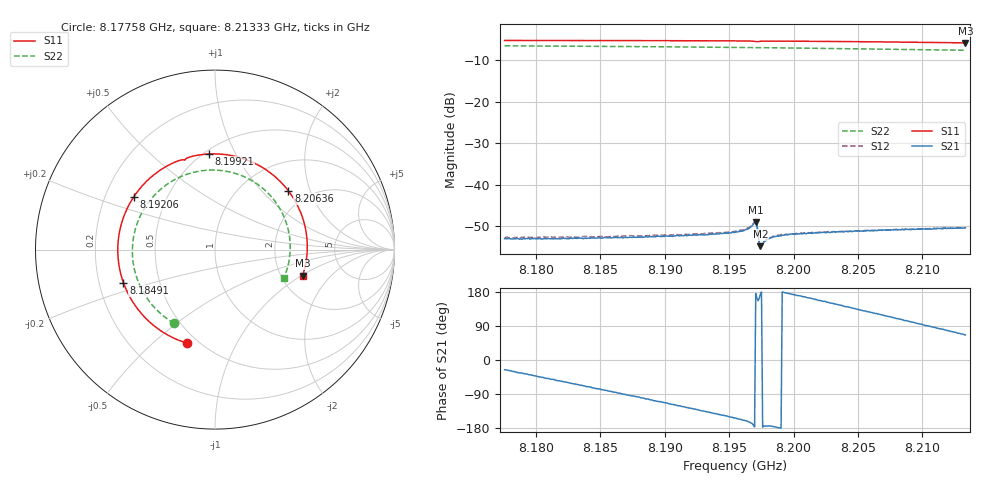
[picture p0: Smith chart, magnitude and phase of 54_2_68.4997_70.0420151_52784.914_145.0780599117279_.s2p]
#  HZ  S  RI  R  50.00
! Rohde & Schwarz Vector Network Analyzer
! Rohde-Schwarz,ZNB20-2Port,1311601062101988,3.16
! Created: UTC 3/20/2024, 5:06:07 PM
! freq[Hz]  re:S11  im:S11  re:S21  im:S21  re:S12  im:S12  re:S22  im:S22
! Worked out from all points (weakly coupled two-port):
!   401 points, 8.17758 GHz to 8.21333 GHz, reference 50 ohm
!   highest |S21| = -48.96 dB at 8.19707 GHz (marker M1); lowest = -54.8 dB at 8.19742 GHz (marker M2)
!   lowest |S11| = -5.9 dB at 8.21333 GHz (marker M3), VSWR 3.08, Z = 131 - j51.4 ohm
!   |S11| at or under -10 dB: nowhere
!   |S22| runs from -7.6 to -6.6 dB; largest |S21 - S12| = 0.00019
!   S11 on the Smith chart (normalised r, x): 8.17758 GHz: 0.44, -0.65; 8.18491 GHz: 0.30, -0.16; 8.19206 GHz: 0.32, +0.27; 8.19921 GHz: 0.53, +0.79; 8.20636 GHz: 1.59, +1.43; 8.21333 GHz: 2.61, -1.03
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8.177579e9  -0.1554 -0.5216  0.00203 -0.000975  0.00207 -0.00102  -0.2274 -0.411
8.18035e9  -0.3252 -0.4357  0.00161 -0.00157  0.00164 -0.00165  -0.347 -0.3119
8.183568e9  -0.4716 -0.2694  0.000914 -0.00209  0.0009 -0.00219  -0.4359 -0.1568
8.184909e9  -0.5101 -0.1847  0.000549 -0.00226  0.000526 -0.00233  -0.4542 -0.0844
8.187233e9  -0.5414 -0.0261  -0.000116 -0.00234  -0.000176 -0.00244  -0.4575 0.0444
8.189557e9  -0.5239 0.1349  -0.000807 -0.00228  -0.000896 -0.0023  -0.4247 0.1688
8.19206e9  -0.4524 0.2942  -0.00151 -0.00197  -0.00158 -0.00199  -0.3518 0.2869
8.195457e9  -0.2807 0.4581  -0.00237 -0.00122  -0.00248 -0.00119  -0.2018 0.4011
8.196351e9  -0.2237 0.4874  -0.00274 -0.000958  -0.00282 -0.000855  -0.1554 0.4201
8.196887e9  -0.1857 0.4999  -0.00333 -0.00049  -0.00343 -0.000389  -0.1265 0.4288
8.196976e9  -0.1787 0.5004  -0.00349 -0.000216  -0.00357 -7.27e-05  -0.1214 0.43
8.197066e9  -0.1724 0.4996  -0.00355 0.000289  -0.00363 0.000449  -0.1165 0.4311
8.197423e9  -0.1592 0.508  -0.00182 0.000216  -0.00187 0.000322  -0.0971 0.4354
8.197513e9  -0.153 0.5111  -0.00189 1.2e-05  -0.00193 7.17e-05  -0.0921 0.4363
8.198049e9  -0.1145 0.5225  -0.00222 -0.000235  -0.00231 -0.000135  -0.0619 0.4407
8.199211e9  -0.0321 0.533  -0.00247 4.56e-05  -0.00249 0.000168  0.00391 0.4429
8.201446e9  0.1246 0.5165  -0.00249 0.000813  -0.00252 0.000927  0.1287 0.4193
8.203859e9  0.28 0.4474  -0.00215 0.00166  -0.00212 0.00176  0.2508 0.3537
8.206362e9  0.4092 0.327  -0.00153 0.00239  -0.00145 0.00241  0.3498 0.247
8.207435e9  0.4507 0.2629  -0.00119 0.00261  -0.0011 0.00267  0.3806 0.1913
8.210384e9  0.5119 0.0631  -8.59e-06 0.00293  5.41e-05 0.00296  0.4192 0.0195
8.213334e9  0.488 -0.1456  0.00123 0.00277  0.00128 0.00279  0.3837 -0.1573
